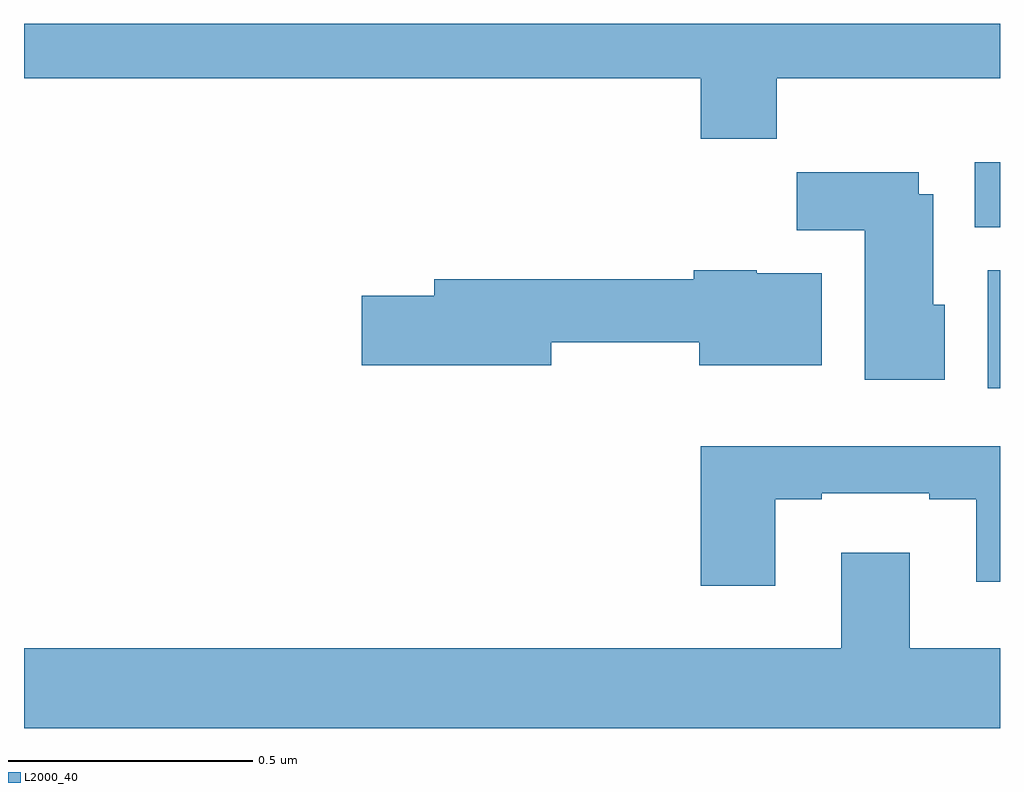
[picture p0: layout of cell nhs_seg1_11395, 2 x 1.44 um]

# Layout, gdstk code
import gdstk
lib = gdstk.Library(unit=1e-6, precision=1e-09)
def R(c, l, rs):  # rectangles x0, y0, x1, y1
    for r in rs: c.add(gdstk.rectangle(r[:2], r[2:], *l))
def P(c, l, *ps):  # polygons
    for p in ps: c.add(gdstk.Polygon(p, *l))
L2000_40 = (2000, 40)

nhs_seg1_11395 = lib.new_cell('nhs_seg1_11395')
R(nhs_seg1_11395, L2000_40, [(254.975,528.452,255,528.694), (254.948,528.782,255,528.916)])
P(nhs_seg1_11395, L2000_40, [(254.543,529.088),(255,529.088),(255,529.199),(253,529.199),(253,529.088),(254.387,529.088),(254.387,528.964),(254.543,528.964)],
  [(254.887,528.624),(254.863,528.624),(254.863,528.85),(254.833,528.85),(254.833,528.895),(254.584,528.895),(254.584,528.776),(254.723,528.776),(254.723,528.47),(254.887,528.47)],
  [(254.08,528.547),(254.384,528.547),(254.384,528.5),(254.635,528.5),(254.635,528.688),(254.502,528.688),(254.502,528.694),(254.372,528.694),(254.372,528.676),(253.841,528.676),(253.841,528.642),(253.692,528.642),(253.692,528.5),(254.08,528.5)],
  [(254.539,528.225),(254.635,528.225),(254.635,528.237),(254.855,528.237),(254.855,528.225),(254.951,528.225),(254.951,528.056),(255,528.056),(255,528.334),(254.387,528.334),(254.387,528.048),(254.539,528.048)],
  [(255,527.92),(254.815,527.92),(254.815,528.115),(254.675,528.115),(254.675,527.92),(253,527.92),(253,527.756),(255,527.756)])

lib.write_gds('nhs_seg1_11395.gds')
